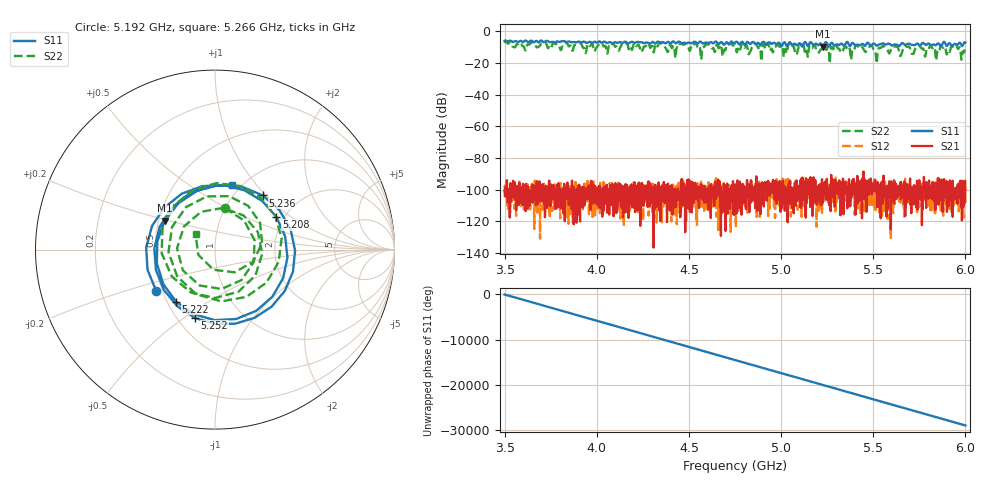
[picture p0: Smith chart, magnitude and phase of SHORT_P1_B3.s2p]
# Hz S RI R 50
! RAW DATA - UNCALIBRATED
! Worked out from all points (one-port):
!   1601 points, 3.5 GHz to 6 GHz, reference 50 ohm
!   lowest |S11| = -9.8 dB at 5.228 GHz (marker M1), VSWR 1.96, Z = 26.9 + j9.64 ohm
!   |S11| at or under -10 dB: nowhere
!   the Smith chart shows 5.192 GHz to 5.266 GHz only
!   S11 on the Smith chart (normalised r, x): 5.192 GHz: 0.46, -0.25; 5.208 GHz: 1.83, +0.78; 5.222 GHz: 0.56, -0.37; 5.236 GHz: 1.33, +0.96; 5.252 GHz: 0.61, -0.55; 5.266 GHz: 0.91, +0.76
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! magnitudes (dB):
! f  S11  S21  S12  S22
! 3.5 GHz  -6.0  -100.6  -102.0  -7.5
! 3.917 GHz  -7.1  -102.9  -99.5  -8.2
! 4.334 GHz  -6.6  -96.7  -96.6  -8.3
! 4.433 GHz  -7.4  -104.9  -97.7  -10.9
! 4.75 GHz  -7.3  -98.8  -101.8  -8.7
! 4.991 GHz  -7.4  -94.7  -100.6  -9.6
! 5.022 GHz  -7.3  -100.1  -105.8  -11.3
! 5.111 GHz  -9.2  -101.4  -117.2  -9.3
! 5.138 GHz  -7.9  -102.5  -93.2  -12.4
! 5.167 GHz  -7.6  -98.0  -101.4  -10.6
! 5.192 GHz  -8.0  -105.3  -123.5  -12.5
! 5.208 GHz  -8.2  -97.5  -102.9  -13.0
! 5.222 GHz  -8.8  -93.5  -115.5  -11.0
! 5.228 GHz  -9.8  -106.6  -98.9  -9.0
! 5.236 GHz  -7.9  -95.6  -107.0  -8.5
! 5.252 GHz  -8.0  -106.0  -104.6  -10.5
! 5.266 GHz  -8.6  -97.4  -108.3  -17.1
! 5.298 GHz  -8.4  -100.1  -104.4  -8.6
! 5.386 GHz  -7.4  -94.5  -100.0  -12.6
! 5.416 GHz  -8.6  -108.9  -112.0  -9.2
! 5.584 GHz  -7.8  -97.3  -102.4  -13.6
! 6 GHz  -7.1  -107.5  -100.8  -10.0
